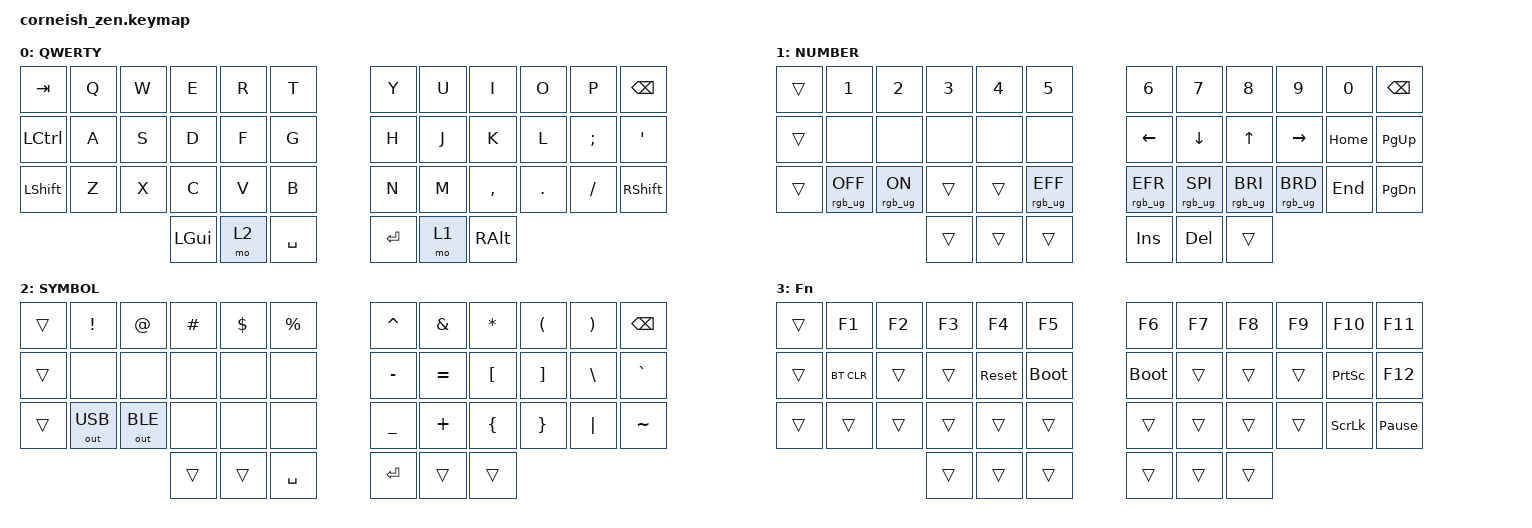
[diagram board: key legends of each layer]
/*
 * Copyright (c) 2020 The ZMK Contributors
 *
 * SPDX-License-Identifier: MIT
 */


#include <behaviors.dtsi>
#include <dt-bindings/zmk/bt.h>
#include <dt-bindings/zmk/keys.h>
#include <dt-bindings/zmk/outputs.h>
#include <dt-bindings/zmk/rgb.h>

/ {
    chosen {
        zmk,matrix_transform = &default_transform;

        // zmk,matrix_transform = &five_column_transform;
    };
};

/ {
  combos {
        compatible = "zmk,combos";
        combo_esc {
            timeout-ms = <50>;
            key-positions = <1 2>;
            bindings = <&kp ESC>;
        };
        compatible = "zmk,combos";
        combo_btclear {
            timeout-ms = <50>;
            key-positions = <11 12>;
            bindings = <&bt BT_CLR_ALL>;
        };
        compatible = "zmk,combos";
        combo_caps {
            timeout-ms = <50>;
            key-positions = <14 15>;
            bindings = <&kp CAPSLOCK>;
        };
    };
    behaviors {
        td0: td0 {
            compatible = "zmk,behavior-tap-dance";
            label = "TD0";
            #binding-cells = <0>;
            bindings = <&kp LEFT_SHIFT>, <&kp CAPS>;
        };
    };

    keymap {
        compatible = "zmk,keymap";

        default_layer {
            display-name = "QWERTY";

            // --------------------------------------------------------------------------------
            // |  TAB |  Q  |  W  |  E  |  R  |  T  |   |  Y  |  U   |  I  |  O  |  P  | BKSP |
            // | CTRL |  A  |  S  |  D  |  F  |  G  |   |  H  |  J   |  K  |  L  |  ;  |  '   | 
            // | SHFT |  Z  |  X  |  C  |  V  |  B  |   |  N  |  M   |  ,  |  .  |  /  | ESC  |
            //                    | GUI | LWR | SPC |   | ENT | RSE  | ALT |

            bindings = <
&kp TAB    &kp Q  &kp W  &kp E     &kp R  &kp T          &kp Y        &kp U  &kp I      &kp O    &kp P     &kp BSPC
&kp LCTRL  &kp A  &kp S  &kp D     &kp F  &kp G          &kp H        &kp J  &kp K      &kp L    &kp SEMI  &kp SQT
&kp LSHIFT       &kp Z  &kp X  &kp C     &kp V  &kp B          &kp N        &kp M  &kp COMMA  &kp DOT  &kp FSLH  &kp RSHIFT
                         &kp LGUI  &mo 2  &kp SPACE    &kp ENTER  &mo 1  &kp RALT
            >;
        };

        lower_layer {
            display-name = "NUMBER";

            // -----------------------------------------------------------------------------------------
            // |  TAB |  1  |  2  |  3  |  4  |  5  |   |  6  |  7  |  8  |  9  |  0  | BKSP |
            // | BTCLR| BT1 | BT2 | BT3 | BT4 | BT5 |   | LFT | DWN |  UP | RGT |     |      |
            // | SHFT |     |     |     |     |     |   |     |     |     |     |     |      |
            //                    | GUI |     | SPC |   | ENT |     | ALT |

            bindings = <
&trans  &kp N1           &kp N2          &kp N3        &kp N4        &kp N5             &kp N6           &kp N7           &kp N8           &kp N9           &kp N0    &kp BSPC
&trans  &none   &none    &none  &none  &none       &kp LEFT         &kp DOWN         &kp UP           &kp RIGHT        &kp HOME  &kp PG_UP
&trans  &rgb_ug RGB_OFF  &rgb_ug RGB_ON  &trans        &trans        &rgb_ug RGB_EFF    &rgb_ug RGB_EFR  &rgb_ug RGB_SPI  &rgb_ug RGB_BRI  &rgb_ug RGB_BRD  &kp END   &kp PG_DN
                                         &trans        &trans        &trans             &kp INS          &kp DEL          &trans
            >;
        };

        raise_layer {
            display-name = "SYMBOL";

            // -----------------------------------------------------------------------------------------
            // |  TAB |  !  |  @  |  #  |  $  |  %  |   |  ^  |  &  |  *  |  (  |  )  | BKSP |
            // | CTRL |     |     |     |     |     |   |  -  |  =  |  [  |  ]  |  \  |  `   |
            // | SHFT |     |     |     |     |     |   |  _  |  +  |  {  |  }  | "|" |  ~   |
            //                    | GUI |     | SPC |   | ENT |     | ALT |

            bindings = <
&trans  &kp EXCL      &kp AT        &kp HASH  &kp DLLR  &kp PRCNT    &kp CARET  &kp AMPS   &kp ASTRK  &kp LPAR  &kp RPAR  &kp BSPC
&trans  &none         &none         &none     &none     &none        &kp MINUS  &kp EQUAL  &kp LBKT   &kp RBKT  &kp BSLH  &kp GRAVE
&trans  &out OUT_USB  &out OUT_BLE  &none     &none     &none        &kp UNDER  &kp PLUS   &kp LBRC   &kp RBRC  &kp PIPE  &kp TILDE
                                    &trans    &trans    &kp SPACE    &kp RET    &trans     &trans
            >;
        };

        layer_3 {
            display-name = "Fn";
            bindings = <
&trans  &kp F1      &kp F2  &kp F3  &kp F4      &kp F5         &kp F6       &kp F7  &kp F8  &kp F9  &kp F10          &kp F11
&trans  &bt BT_CLR  &trans  &trans  &sys_reset  &bootloader    &bootloader  &trans  &trans  &trans  &kp PRINTSCREEN  &kp F12
&trans  &trans      &trans  &trans  &trans      &trans         &trans       &trans  &trans  &trans  &kp SCROLLLOCK   &kp PAUSE_BREAK
                            &trans  &trans      &trans         &trans       &trans  &trans
            >;
        };
    };
};
